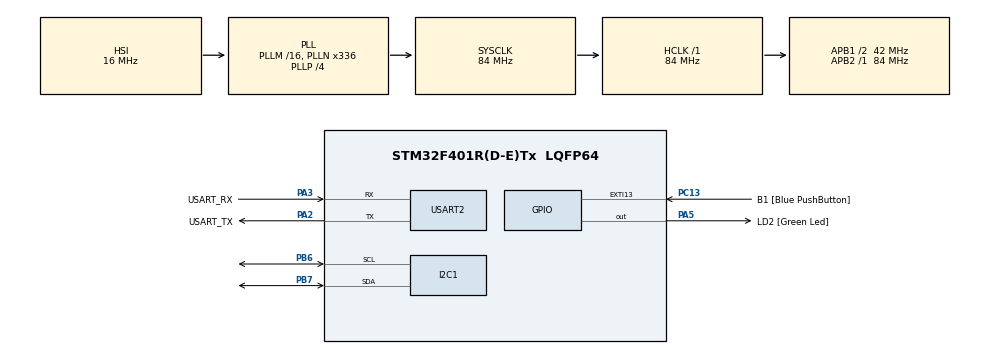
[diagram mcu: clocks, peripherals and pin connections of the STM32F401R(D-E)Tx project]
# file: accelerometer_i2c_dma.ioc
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Dma.I2C1_RX.1.Direction=DMA_PERIPH_TO_MEMORY
Dma.I2C1_RX.1.FIFOMode=DMA_FIFOMODE_DISABLE
Dma.I2C1_RX.1.Instance=DMA1_Stream0
Dma.I2C1_RX.1.MemDataAlignment=DMA_MDATAALIGN_BYTE
Dma.I2C1_RX.1.MemInc=DMA_MINC_ENABLE
Dma.I2C1_RX.1.Mode=DMA_NORMAL
Dma.I2C1_RX.1.PeriphDataAlignment=DMA_PDATAALIGN_BYTE
Dma.I2C1_RX.1.PeriphInc=DMA_PINC_DISABLE
Dma.I2C1_RX.1.Priority=DMA_PRIORITY_HIGH
Dma.I2C1_TX.2.Direction=DMA_MEMORY_TO_PERIPH
Dma.I2C1_TX.2.FIFOMode=DMA_FIFOMODE_DISABLE
Dma.I2C1_TX.2.Instance=DMA1_Stream7
Dma.I2C1_TX.2.MemDataAlignment=DMA_MDATAALIGN_BYTE
Dma.I2C1_TX.2.MemInc=DMA_MINC_ENABLE
Dma.I2C1_TX.2.Mode=DMA_NORMAL
Dma.I2C1_TX.2.PeriphDataAlignment=DMA_PDATAALIGN_BYTE
Dma.I2C1_TX.2.PeriphInc=DMA_PINC_DISABLE
Dma.I2C1_TX.2.Priority=DMA_PRIORITY_HIGH
Dma.Request0=USART2_TX
Dma.Request1=I2C1_RX
Dma.Request2=I2C1_TX
Dma.USART2_TX.0.Direction=DMA_MEMORY_TO_PERIPH
Dma.USART2_TX.0.FIFOMode=DMA_FIFOMODE_DISABLE
Dma.USART2_TX.0.Instance=DMA1_Stream6
Dma.USART2_TX.0.MemDataAlignment=DMA_MDATAALIGN_BYTE
Dma.USART2_TX.0.MemInc=DMA_MINC_ENABLE
Dma.USART2_TX.0.Mode=DMA_NORMAL
Dma.USART2_TX.0.PeriphDataAlignment=DMA_PDATAALIGN_BYTE
Dma.USART2_TX.0.PeriphInc=DMA_PINC_DISABLE
Dma.USART2_TX.0.Priority=DMA_PRIORITY_HIGH
Mcu.Family=STM32F4
Mcu.Name=STM32F401R(D-E)Tx
Mcu.Package=LQFP64
NVIC.DMA1_Stream0_IRQn=true\:0\:0\:false\:false\:true\:false\:true\:true
NVIC.DMA1_Stream6_IRQn=true\:0\:0\:false\:false\:true\:false\:true\:true
NVIC.DMA1_Stream7_IRQn=true\:0\:0\:false\:false\:true\:false\:true\:true
NVIC.PriorityGroup=NVIC_PRIORITYGROUP_4
NVIC.USART2_IRQn=true\:0\:0\:false\:false\:true\:true\:true\:true
PA13.GPIO_Label=TMS
PA13.Mode=Trace_Asynchronous_SW
PA13.Signal=SYS_JTMS-SWDIO
PA14.GPIO_Label=TCK
PA14.Mode=Trace_Asynchronous_SW
PA14.Signal=SYS_JTCK-SWCLK
PA2.GPIO_Label=USART_TX
PA2.GPIO_Mode=GPIO_MODE_AF_PP
PA2.GPIO_PuPd=GPIO_NOPULL
PA2.GPIO_Speed=GPIO_SPEED_FREQ_LOW
PA2.Mode=Asynchronous
PA2.Signal=USART2_TX
PA3.GPIO_Label=USART_RX
PA3.GPIO_Mode=GPIO_MODE_AF_PP
PA3.GPIO_PuPd=GPIO_NOPULL
PA3.GPIO_Speed=GPIO_SPEED_FREQ_LOW
PA3.Mode=Asynchronous
PA3.Signal=USART2_RX
PA5.GPIO_Label=LD2 [Green Led]
PA5.GPIO_Mode=GPIO_MODE_OUTPUT_PP
PA5.GPIO_PuPd=GPIO_NOPULL
PA5.GPIO_Speed=GPIO_SPEED_FREQ_LOW
PA5.Signal=GPIO_Output
PB3.GPIO_Label=SWO
PB3.Mode=Trace_Asynchronous_SW
PB3.Signal=SYS_JTDO-SWO
PB6.Mode=I2C
PB6.Signal=I2C1_SCL
PB7.Mode=I2C
PB7.Signal=I2C1_SDA
PC13-ANTI_TAMP.GPIO_Label=B1 [Blue PushButton]
PC13-ANTI_TAMP.GPIO_ModeDefaultEXTI=GPIO_MODE_IT_FALLING
PC13-ANTI_TAMP.GPIO_PuPd=GPIO_NOPULL
PC13-ANTI_TAMP.Signal=GPXTI13
PC14-OSC32_IN.Mode=LSE-External-Oscillator
PC14-OSC32_IN.Signal=RCC_OSC32_IN
PC15-OSC32_OUT.Mode=LSE-External-Oscillator
PC15-OSC32_OUT.Signal=RCC_OSC32_OUT
PH0\ -\ OSC_IN.Mode=HSE-External-Clock-Source
PH0\ -\ OSC_IN.Signal=RCC_OSC_IN
PH1\ -\ OSC_OUT.Mode=HSE-External-Clock-Source
PH1\ -\ OSC_OUT.Signal=RCC_OSC_OUT
ProjectManager.HeapSize=0x200
ProjectManager.StackSize=0x400
ProjectManager.TargetToolchain=STM32CubeIDE
RCC.48MHZClocksFreq_Value=48000000
RCC.AHBFreq_Value=84000000
RCC.APB1CLKDivider=RCC_HCLK_DIV2
RCC.APB1Freq_Value=42000000
RCC.APB1TimFreq_Value=84000000
RCC.APB2Freq_Value=84000000
RCC.APB2TimFreq_Value=84000000
RCC.CortexFreq_Value=84000000
RCC.HCLKFreq_Value=84000000
RCC.HSE_VALUE=8000000
RCC.HSI_VALUE=16000000
RCC.PLLN=336
RCC.PLLP=RCC_PLLP_DIV4
RCC.PLLQ=7
RCC.SYSCLKFreq_VALUE=84000000
RCC.SYSCLKSource=RCC_SYSCLKSOURCE_PLLCLK
RCC.VCOOutputFreq_Value=336000000
TIM2.Period=10000 - 1
TIM2.Prescaler=8400 - 1
USART2.VirtualMode=VM_ASYNC
VP_TIM2_VS_ClockSourceINT.Mode=Internal
board=NUCLEO-F401RE

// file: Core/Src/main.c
/* USER CODE BEGIN Header */
/**
  ******************************************************************************
  * @file           : main.c
  * @brief          : Main program body
  ******************************************************************************
  * @attention
  *
  * Copyright (c) 2025 STMicroelectronics.
  * All rights reserved.
  *
  * This software is licensed under terms that can be found in the LICENSE file
  * in the root directory of this software component.
  * If no LICENSE file comes with this software, it is provided AS-IS.
  *
  ******************************************************************************
  */
/* USER CODE END Header */
#include "main.h"

I2C_HandleTypeDef hi2c1;
DMA_HandleTypeDef hdma_i2c1_rx;
DMA_HandleTypeDef hdma_i2c1_tx;

TIM_HandleTypeDef htim2;

UART_HandleTypeDef huart2;
DMA_HandleTypeDef hdma_usart2_tx;

/* USER CODE BEGIN PV */
uint8_t LIS2DE_ADDRESS = 0b01010000;

uint8_t CTRL_REG1[]= {0x20, 0b00010111};
uint8_t CTRL_REG2[]= {0x21, 0b00000000};
uint8_t CTRL_REG4[]= {0x23, 0b00000000};

uint8_t OUT_X_ADD_AUTO= 0b10101001;

int8_t data[5];
/* USER CODE END PV */

void SystemClock_Config(void);
static void MX_GPIO_Init(void);
static void MX_DMA_Init(void);
static void MX_USART2_UART_Init(void);
static void MX_TIM2_Init(void);
static void MX_I2C1_Init(void);
/* USER CODE BEGIN PFP */
void HAL_TIM_PeriodElapsedCallback(TIM_HandleTypeDef *htim)
{
    if (htim->Instance == TIM2)
    {
    	HAL_I2C_Master_Transmit_DMA(&hi2c1, LIS2DE_ADDRESS, &OUT_X_ADD, 1);
    }
}

void HAL_I2C_MasterTxCpltCallback(I2C_HandleTypeDef *hi2c)
{
    if (hi2c->Instance == I2C1)
    {
    	HAL_I2C_Master_Receive_DMA(&hi2c1, LIS2DE_ADDRESS, &data, 5);
    }
}

void HAL_I2C_MasterRxCpltCallback(I2C_HandleTypeDef *hi2c)
 {
     if (hi2c->Instance == I2C1)
     {
   	  float data_x_acc = data[0] / 64.0;
   	  float data_y_acc = data[2] / 64.0;
   	  float data_z_acc = data[4] / 64.0;

   	  char string[64];
   	  int length = snprintf(string, sizeof(string), "X: %+.2f g\r\nY: %+.2f g\r\nZ: %+.2f g\r\n",data_x_acc, data_y_acc, data_z_acc);
   	  HAL_UART_Transmit_DMA(&huart2, (uint8_t*)string, length);
     }
 }
/* USER CODE END PFP */

int main(void)
{

  /* MCU Configuration--------------------------------------------------------*/

  /* Reset of all peripherals, Initializes the Flash interface and the Systick. */
  HAL_Init();

  /* Configure the system clock */
  SystemClock_Config();

  /* Initialize all configured peripherals */
  MX_GPIO_Init();
  MX_DMA_Init();
  MX_USART2_UART_Init();
  MX_TIM2_Init();
  MX_I2C1_Init();
  /* USER CODE BEGIN 2 */
  HAL_I2C_Master_Transmit(&hi2c1, LIS2DE_ADDRESS, CTRL_REG1, 2, 100);
  HAL_I2C_Master_Transmit(&hi2c1, LIS2DE_ADDRESS, CTRL_REG2, 2, 100);
  HAL_I2C_Master_Transmit(&hi2c1, LIS2DE_ADDRESS, CTRL_REG4, 2, 100);

  HAL_TIM_Base_Start_IT(&htim2);
  /* USER CODE END 2 */

  /* Infinite loop */
  while (1)
  {

  }
}

void SystemClock_Config(void)
{
  RCC_OscInitTypeDef RCC_OscInitStruct = {0};
  RCC_ClkInitTypeDef RCC_ClkInitStruct = {0};

  /** Configure the main internal regulator output voltage
  */
  __HAL_RCC_PWR_CLK_ENABLE();
  __HAL_PWR_VOLTAGESCALING_CONFIG(PWR_REGULATOR_VOLTAGE_SCALE2);

  /** Initializes the RCC Oscillators according to the specified parameters
  * in the RCC_OscInitTypeDef structure.
  */
  RCC_OscInitStruct.OscillatorType = RCC_OSCILLATORTYPE_HSI;
  RCC_OscInitStruct.HSIState = RCC_HSI_ON;
  RCC_OscInitStruct.HSICalibrationValue = RCC_HSICALIBRATION_DEFAULT;
  RCC_OscInitStruct.PLL.PLLState = RCC_PLL_ON;
  RCC_OscInitStruct.PLL.PLLSource = RCC_PLLSOURCE_HSI;
  RCC_OscInitStruct.PLL.PLLM = 16;
  RCC_OscInitStruct.PLL.PLLN = 336;
  RCC_OscInitStruct.PLL.PLLP = RCC_PLLP_DIV4;
  RCC_OscInitStruct.PLL.PLLQ = 7;
  if (HAL_RCC_OscConfig(&RCC_OscInitStruct) != HAL_OK)
  {
    Error_Handler();
  }

  /** Initializes the CPU, AHB and APB buses clocks
  */
  RCC_ClkInitStruct.ClockType = RCC_CLOCKTYPE_HCLK|RCC_CLOCKTYPE_SYSCLK
                              |RCC_CLOCKTYPE_PCLK1|RCC_CLOCKTYPE_PCLK2;
  RCC_ClkInitStruct.SYSCLKSource = RCC_SYSCLKSOURCE_PLLCLK;
  RCC_ClkInitStruct.AHBCLKDivider = RCC_SYSCLK_DIV1;
  RCC_ClkInitStruct.APB1CLKDivider = RCC_HCLK_DIV2;
  RCC_ClkInitStruct.APB2CLKDivider = RCC_HCLK_DIV1;

  if (HAL_RCC_ClockConfig(&RCC_ClkInitStruct, FLASH_LATENCY_2) != HAL_OK)
  {
    Error_Handler();
  }
}

static void MX_I2C1_Init(void)
{

  hi2c1.Instance = I2C1;
  hi2c1.Init.ClockSpeed = 100000;
  hi2c1.Init.DutyCycle = I2C_DUTYCYCLE_2;
  hi2c1.Init.OwnAddress1 = 0;
  hi2c1.Init.AddressingMode = I2C_ADDRESSINGMODE_7BIT;
  hi2c1.Init.DualAddressMode = I2C_DUALADDRESS_DISABLE;
  hi2c1.Init.OwnAddress2 = 0;
  hi2c1.Init.GeneralCallMode = I2C_GENERALCALL_DISABLE;
  hi2c1.Init.NoStretchMode = I2C_NOSTRETCH_DISABLE;
  if (HAL_I2C_Init(&hi2c1) != HAL_OK)
  {
    Error_Handler();
  }

}

static void MX_TIM2_Init(void)
{

  TIM_ClockConfigTypeDef sClockSourceConfig = {0};
  TIM_MasterConfigTypeDef sMasterConfig = {0};

  htim2.Instance = TIM2;
  htim2.Init.Prescaler = 8400 - 1;
  htim2.Init.CounterMode = TIM_COUNTERMODE_UP;
  htim2.Init.Period = 10000 - 1;
  htim2.Init.ClockDivision = TIM_CLOCKDIVISION_DIV1;
  htim2.Init.AutoReloadPreload = TIM_AUTORELOAD_PRELOAD_DISABLE;
  if (HAL_TIM_Base_Init(&htim2) != HAL_OK)
  {
    Error_Handler();
  }
  sClockSourceConfig.ClockSource = TIM_CLOCKSOURCE_INTERNAL;
  if (HAL_TIM_ConfigClockSource(&htim2, &sClockSourceConfig) != HAL_OK)
  {
    Error_Handler();
  }
  sMasterConfig.MasterOutputTrigger = TIM_TRGO_RESET;
  sMasterConfig.MasterSlaveMode = TIM_MASTERSLAVEMODE_DISABLE;
  if (HAL_TIMEx_MasterConfigSynchronization(&htim2, &sMasterConfig) != HAL_OK)
  {
    Error_Handler();
  }

}

static void MX_USART2_UART_Init(void)
{

  huart2.Instance = USART2;
  huart2.Init.BaudRate = 115200;
  huart2.Init.WordLength = UART_WORDLENGTH_8B;
  huart2.Init.StopBits = UART_STOPBITS_1;
  huart2.Init.Parity = UART_PARITY_NONE;
  huart2.Init.Mode = UART_MODE_TX_RX;
  huart2.Init.HwFlowCtl = UART_HWCONTROL_NONE;
  huart2.Init.OverSampling = UART_OVERSAMPLING_16;
  if (HAL_UART_Init(&huart2) != HAL_OK)
  {
    Error_Handler();
  }

}

static void MX_DMA_Init(void)
{

  /* DMA controller clock enable */
  __HAL_RCC_DMA1_CLK_ENABLE();

  /* DMA interrupt init */
  /* DMA1_Stream0_IRQn interrupt configuration */
  HAL_NVIC_SetPriority(DMA1_Stream0_IRQn, 0, 0);
  HAL_NVIC_EnableIRQ(DMA1_Stream0_IRQn);
  /* DMA1_Stream6_IRQn interrupt configuration */
  HAL_NVIC_SetPriority(DMA1_Stream6_IRQn, 0, 0);
  HAL_NVIC_EnableIRQ(DMA1_Stream6_IRQn);
  /* DMA1_Stream7_IRQn interrupt configuration */
  HAL_NVIC_SetPriority(DMA1_Stream7_IRQn, 0, 0);
  HAL_NVIC_EnableIRQ(DMA1_Stream7_IRQn);

}

static void MX_GPIO_Init(void)
{
  GPIO_InitTypeDef GPIO_InitStruct = {0};

  /* GPIO Ports Clock Enable */
  __HAL_RCC_GPIOC_CLK_ENABLE();
  __HAL_RCC_GPIOH_CLK_ENABLE();
  __HAL_RCC_GPIOA_CLK_ENABLE();
  __HAL_RCC_GPIOB_CLK_ENABLE();

  /*Configure GPIO pin Output Level */
  HAL_GPIO_WritePin(LD2_GPIO_Port, LD2_Pin, GPIO_PIN_RESET);

  /*Configure GPIO pin : B1_Pin */
  GPIO_InitStruct.Pin = B1_Pin;
  GPIO_InitStruct.Mode = GPIO_MODE_IT_FALLING;
  GPIO_InitStruct.Pull = GPIO_NOPULL;
  HAL_GPIO_Init(B1_GPIO_Port, &GPIO_InitStruct);

  /*Configure GPIO pin : LD2_Pin */
  GPIO_InitStruct.Pin = LD2_Pin;
  GPIO_InitStruct.Mode = GPIO_MODE_OUTPUT_PP;
  GPIO_InitStruct.Pull = GPIO_NOPULL;
  GPIO_InitStruct.Speed = GPIO_SPEED_FREQ_LOW;
  HAL_GPIO_Init(LD2_GPIO_Port, &GPIO_InitStruct);

}

void Error_Handler(void)
{
  __disable_irq();
  while (1)
  {
  }
}
